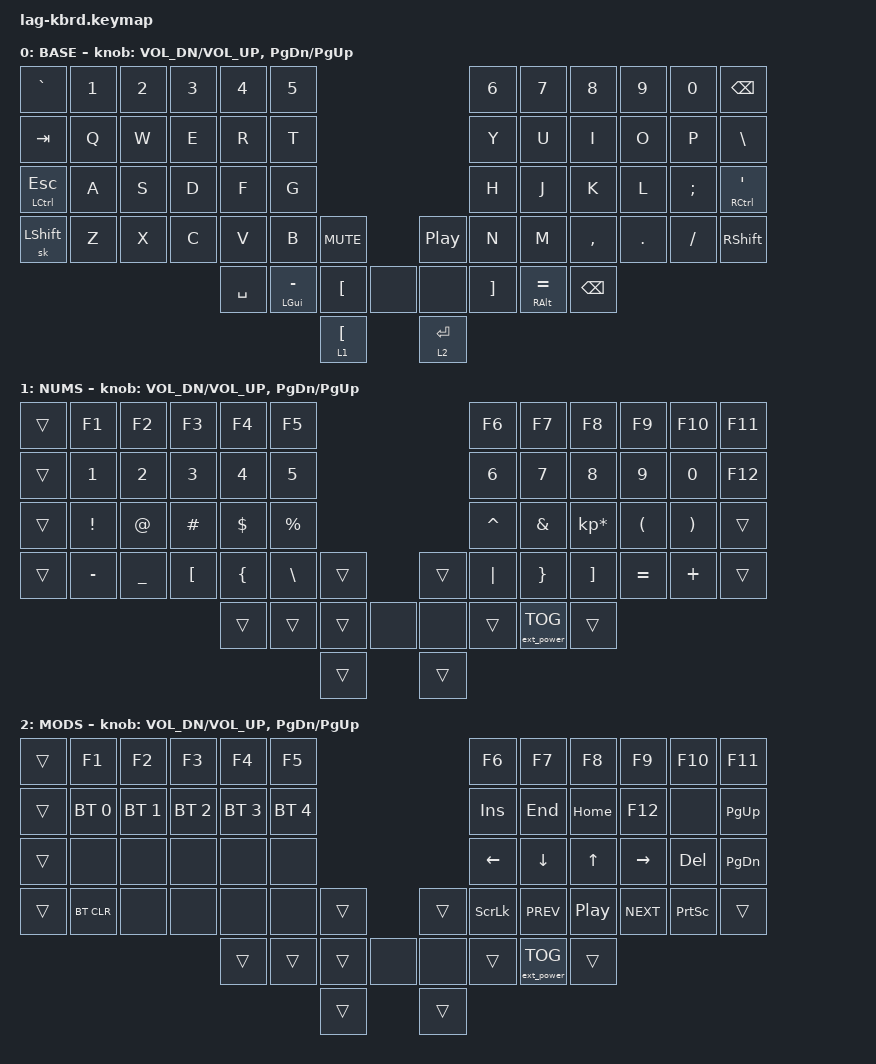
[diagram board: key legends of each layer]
#include <behaviors.dtsi>
#include <dt-bindings/zmk/keys.h>
#include <dt-bindings/zmk/bt.h>
#include <dt-bindings/zmk/ext_power.h>

/ {
    keymap {
        compatible = "zmk,keymap";

        default_layer {
            display-name = "BASE";
            bindings = <
&kp GRAVE       &kp N1 &kp N2    &kp N3 &kp N4     &kp N5                                             &kp N6         &kp N7         &kp N8    &kp N9   &kp N0   &kp BSPC 
&kp TAB         &kp Q  &kp W     &kp E  &kp R      &kp T                                              &kp Y          &kp U          &kp I     &kp O    &kp P    &kp BSLH
&mt LCTRL ESC   &kp A  &kp S     &kp D  &kp F      &kp G                                              &kp H          &kp J          &kp K     &kp L    &kp SEMI &mt RCTRL SQT
&sk LSHFT       &kp Z  &kp X     &kp C  &kp V      &kp B          &kp C_MUTE               &kp C_PP   &kp N          &kp M          &kp COMMA &kp DOT  &kp FSLH &kp RSHFT
                                        &kp SPACE  &mt LGUI MINUS &kp LBKT    &none  &none &kp RBKT   &mt RALT EQUAL &kp BSPC
                                                                  &lt 1 LBKT               &lt 2 RET
            >;

            sensor-bindings = <&inc_dec_kp C_VOL_DN C_VOL_UP &inc_dec_kp PG_DN PG_UP>;
        };

        lower_layer {
            display-name = "NUMS";
            bindings = <
&trans &kp F1    &kp F2    &kp F3   &kp F4    &kp F5                                   &kp F6             &kp F7    &kp F8          &kp F9    &kp F10   &kp F11
&trans &kp N1    &kp N2    &kp N3   &kp N4    &kp N5                                   &kp N6             &kp N7    &kp N8          &kp N9    &kp N0    &kp F12
&trans &kp EXCL  &kp AT    &kp HASH &kp DLLR  &kp PRCNT                                &kp CARET          &kp AMPS  &kp KP_MULTIPLY &kp LPAR  &kp RPAR  &trans
&trans &kp MINUS &kp UNDER &kp LBKT &kp LBRC  &kp BSLH   &trans                &trans  &kp PIPE           &kp RBRC  &kp RBKT        &kp EQUAL &kp PLUS  &trans
                                    &trans    &trans     &trans  &none  &none  &trans  &ext_power EP_TOG  &trans
                                                         &trans                &trans
            >;

            sensor-bindings = <&inc_dec_kp C_VOL_DN C_VOL_UP &inc_dec_kp PG_DN PG_UP>;
        };

        upper_layer {
            display-name = "MODS";
            bindings = <
&trans &kp F1          &kp F2          &kp F3          &kp F4          &kp F5                                        &kp F6             &kp F7     &kp F8   &kp F9     &kp F10   &kp F11
&trans &bt BT_SEL 0    &bt BT_SEL 1    &bt BT_SEL 2    &bt BT_SEL 3    &bt BT_SEL 4                                  &kp INS            &kp END    &kp HOME &kp F12    &none     &kp PG_UP
&trans &none           &none           &none           &none           &none                                         &kp LEFT           &kp DOWN   &kp UP   &kp RIGHT  &kp DEL   &kp PG_DN
&trans &bt BT_CLR      &none           &none           &none           &none           &trans                &trans  &kp SLCK           &kp C_PREV &kp C_PP &kp C_NEXT &kp PSCRN &trans
                                                       &trans          &trans          &trans  &none  &none  &trans  &ext_power EP_TOG  &trans
                                                                                       &trans                &trans
            >;

            sensor-bindings = <&inc_dec_kp C_VOL_DN C_VOL_UP &inc_dec_kp PG_DN PG_UP>;
        };
    };
};
